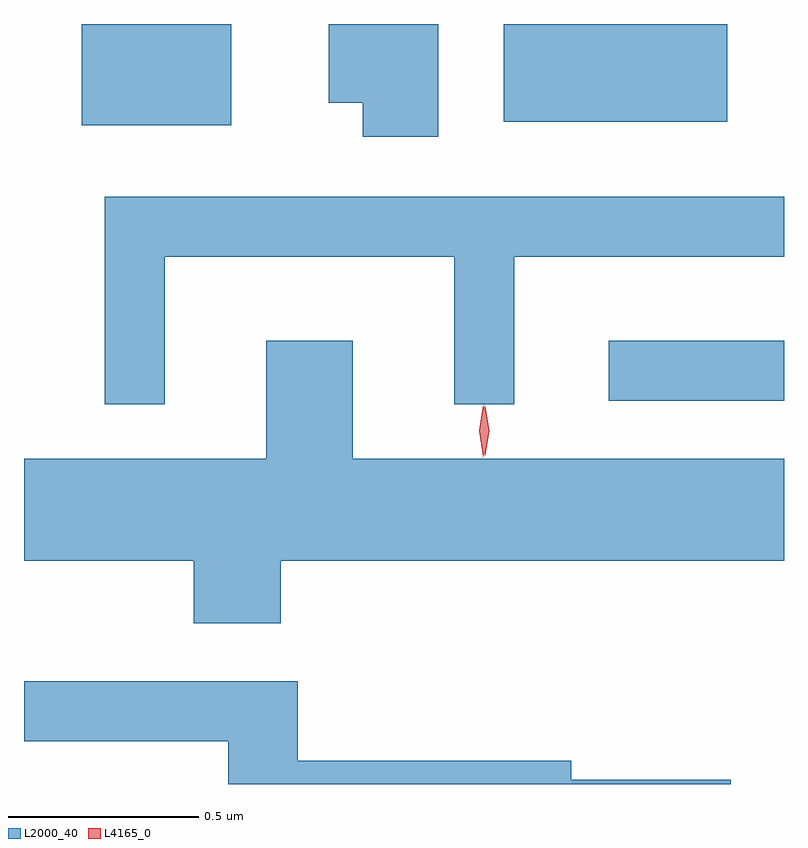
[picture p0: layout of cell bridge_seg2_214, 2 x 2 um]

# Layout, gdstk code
import gdstk
lib = gdstk.Library(unit=1e-6, precision=1e-09)
def R(c, l, rs):  # rectangles x0, y0, x1, y1
    for r in rs: c.add(gdstk.rectangle(r[:2], r[2:], *l))
def P(c, l, *ps):  # polygons
    for p in ps: c.add(gdstk.Polygon(p, *l))
L2000_40 = (2000, 40)
L4165_0 = (4165, 0)

bridge_seg2_214 = lib.new_cell('bridge_seg2_214')
R(bridge_seg2_214, L2000_40, [(961.123,986.576,961.584,986.734), (959.736,987.301,960.129,987.568), (960.846,987.311,961.434,987.568)])
P(bridge_seg2_214, L2000_40, [(960.674,987.568),(960.386,987.568),(960.386,987.361),(960.476,987.361),(960.476,987.271),(960.674,987.271)],
  [(959.954,986.956),(960.716,986.956),(960.716,986.568),(960.874,986.568),(960.874,986.956),(961.584,986.956),(961.584,987.114),(959.796,987.114),(959.796,986.568),(959.954,986.568)],
  [(960.221,986.734),(960.221,986.424),(959.584,986.424),(959.584,986.156),(960.031,986.156),(960.031,985.991),(960.259,985.991),(960.259,986.156),(961.584,986.156),(961.584,986.424),(960.449,986.424),(960.449,986.734)],
  [(961.444,985.579),(961.024,985.579),(961.024,985.629),(960.304,985.629),(960.304,985.839),(959.584,985.839),(959.584,985.681),(960.121,985.681),(960.121,985.568),(961.444,985.568)])
P(bridge_seg2_214, L4165_0, [(960.792,986.428),(960.792,986.429),(960.782,986.497),(960.792,986.565),(960.792,986.566),(960.793,986.565),(960.802,986.497),(960.793,986.429)],
  [(960.797,986.433),(960.788,986.498),(960.797,986.562),(960.798,986.562),(960.798,986.562),(960.808,986.498),(960.798,986.433),(960.798,986.433)])

lib.write_gds('bridge_seg2_214.gds')
